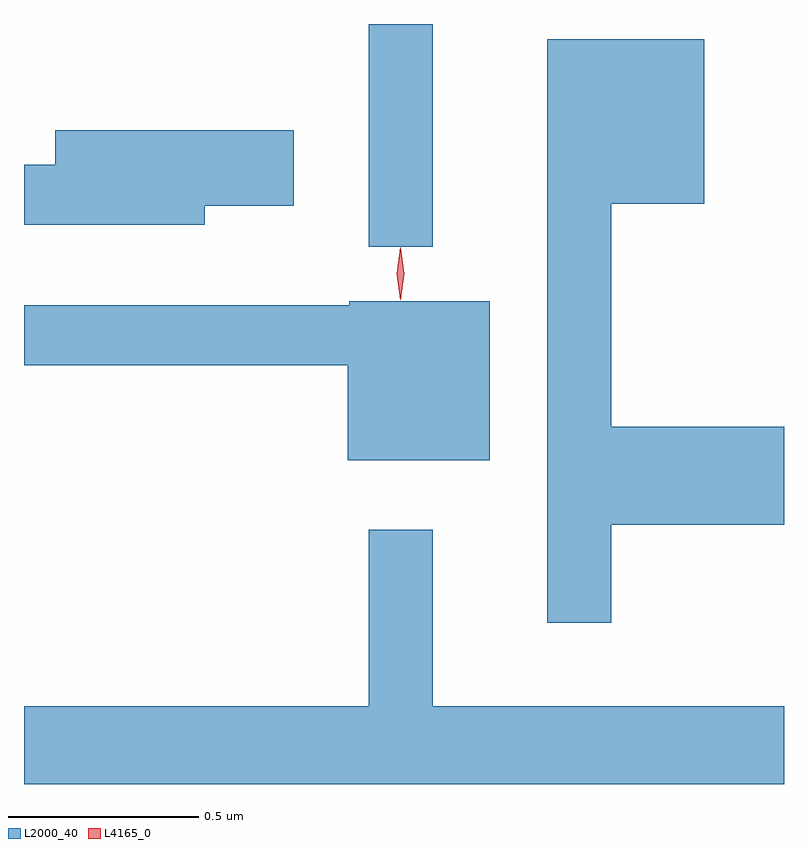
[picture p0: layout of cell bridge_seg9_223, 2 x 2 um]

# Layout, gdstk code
import gdstk
lib = gdstk.Library(unit=1e-6, precision=1e-09)
def R(c, l, rs):  # rectangles x0, y0, x1, y1
    for r in rs: c.add(gdstk.rectangle(r[:2], r[2:], *l))
def P(c, l, *ps):  # polygons
    for p in ps: c.add(gdstk.Polygon(p, *l))
L2000_40 = (2000, 40)
L4165_0 = (4165, 0)

bridge_seg9_223 = lib.new_cell('bridge_seg9_223')
R(bridge_seg9_223, L2000_40, [(1283.541,1953.333,1283.709,1953.919)])
P(bridge_seg9_223, L2000_40, [(1284.179,1952.601),(1284.634,1952.601),(1284.634,1952.859),(1284.179,1952.859),(1284.179,1953.446),(1284.424,1953.446),(1284.424,1953.879),(1284.011,1953.879),(1284.011,1952.343),(1284.179,1952.343)],
  [(1283.109,1953.441),(1283.344,1953.441),(1283.344,1953.639),(1282.716,1953.639),(1282.716,1953.549),(1282.634,1953.549),(1282.634,1953.391),(1283.109,1953.391)],
  [(1283.859,1953.189),(1283.49,1953.189),(1283.49,1953.179),(1282.634,1953.179),(1282.634,1953.021),(1283.486,1953.021),(1283.486,1952.771),(1283.859,1952.771)],
  [(1284.634,1952.124),(1283.709,1952.124),(1283.709,1952.588),(1283.541,1952.588),(1283.541,1952.124),(1282.634,1952.124),(1282.634,1951.919),(1284.634,1951.919)])
P(bridge_seg9_223, L4165_0, [(1283.625,1953.193),(1283.624,1953.194),(1283.615,1953.262),(1283.624,1953.33),(1283.625,1953.33),(1283.625,1953.33),(1283.635,1953.262),(1283.625,1953.194)])

lib.write_gds('bridge_seg9_223.gds')
